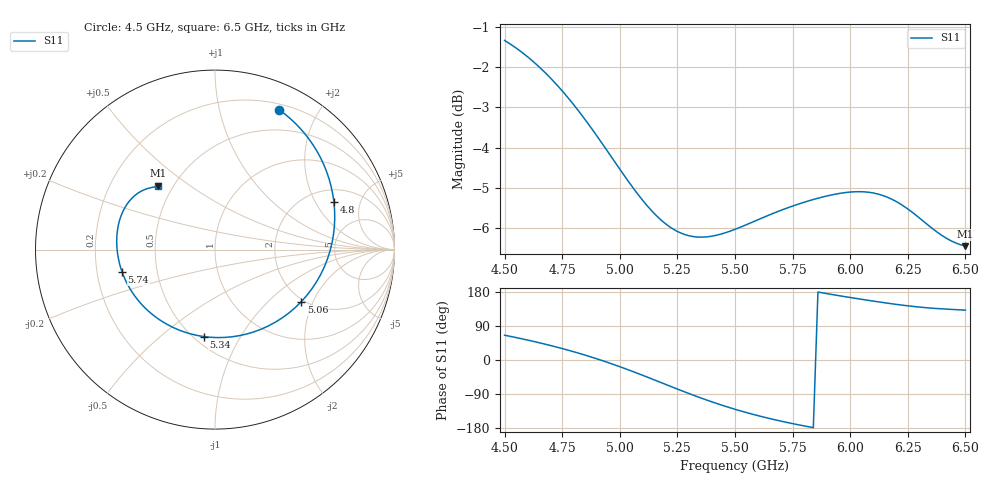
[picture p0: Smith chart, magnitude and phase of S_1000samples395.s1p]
! TOUCHSTONE file generated by CST MICROWAVE STUDIO
! Date and time: Fri Oct 28 00:41:44 2022
! Project name: L.cst
! Parameters = {Di=1.27; Epsilon_r=1.56; InnerDiameter=1.27; Length=2; Lf=10; Lg=60; OuterConductorThickness=0.2921; OuterDiameter=3.6; Wf=3; Wp=41.2; de=1.5; df=6.8; g=0.8; gx=3.7706; gy=1.22309; h=2.34; hf=1.524; px=13.5765; py=8.4444; w=9.7; wx=9.80589; wy=7.22131}
! Header version: 2018
! Port assignment regex: !\s*Touchstone port\s*([0-9]+)\s*=\s*(CST MWS port|CST DS port)\s*([0-9]+|Zmin|Zmax)\s*\(\"(.*)\"\)(\s*mode\s*([0-9]+))?.*
! Touchstone port assignment:
! Touchstone port 1 = CST MWS port 1 ("")
# GHz S DB R 50
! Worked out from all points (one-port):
!   101 points, 4.5 GHz to 6.5 GHz, reference 50 ohm
!   lowest |S11| = -6.4 dB at 6.5 GHz (marker M1), VSWR 2.82, Z = 20.8 + j19.2 ohm
!   |S11| at or under -10 dB: nowhere
!   S11 on the Smith chart (normalised r, x): 4.5 GHz: 0.26, +1.53; 4.8 GHz: 2.68, +2.88; 5.06 GHz: 1.93, -1.64; 5.34 GHz: 0.56, -0.71; 5.74 GHz: 0.31, -0.11; 6.5 GHz: 0.42, +0.38
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4.5  -1.34 65.4
4.56  -1.57 57.9
4.62  -1.84 49.8
4.7  -2.28 38.1
4.76  -2.66 28.5
4.8  -2.94 21.7
4.86  -3.39 10.9
4.9  -3.71 3.2
4.94  -4.03 -4.9
5  -4.53 -17.7
5.06  -5.02 -31.2
5.12  -5.45 -45.3
5.16  -5.70 -55.0
5.2  -5.90 -64.6
5.26  -6.11 -79.1
5.34  -6.22 -97.5
5.42  -6.18 -114.6
5.5  -6.03 -130.0
5.56  -5.89 -140.4
5.62  -5.74 -150.0
5.74  -5.47 -166.6
5.76  -5.43 -169.1
5.88  -5.23 177.2
6  -5.10 164.9
6.14  -5.19 151.9
6.26  -5.57 142.3
6.38  -6.11 135.7
6.5  -6.45 131.6
